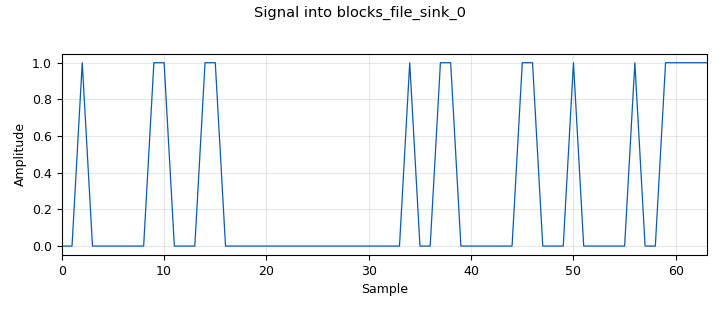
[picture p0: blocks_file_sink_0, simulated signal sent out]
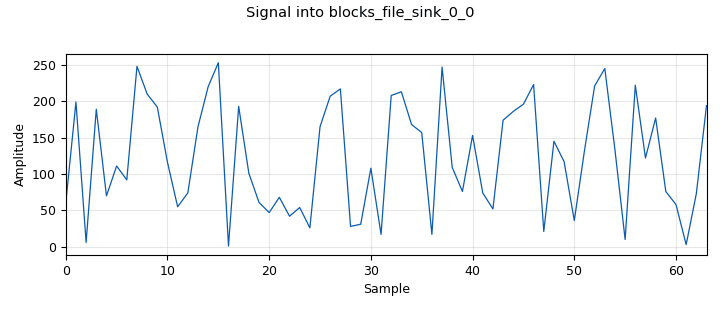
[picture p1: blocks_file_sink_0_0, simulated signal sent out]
<?xml version='1.0' encoding='utf-8'?>
<?grc format='1' created='3.7.9'?>
<flow_graph>
<block>
<key>options</key>
<param><key>id</key><value>top_block</value></param>
<param><key>category</key><value>Custom</value></param>
<param><key>generate_options</key><value>qt_gui</value></param>
</block>
<block>
<key>variable</key>
<param><key>id</key><value>fft_len</value></param>
<param><key>value</key><value>64</value></param>
</block>
<block>
<key>variable</key>
<param><key>id</key><value>header_formatter</value></param>
<param><key>value</key><value>digital.packet_header_ofdm(occupied_carriers, 1, length_tag_key)</value></param>
</block>
<block>
<key>variable</key>
<param><key>id</key><value>header_mod</value></param>
<param><key>value</key><value>digital.constellation_bpsk()</value></param>
</block>
<block>
<key>variable</key>
<param><key>id</key><value>length_tag_key</value></param>
<param><key>value</key><value>"packet_len"</value></param>
</block>
<block>
<key>variable</key>
<param><key>id</key><value>occupied_carriers</value></param>
<param><key>value</key><value>(range(-26, -21) + range(-20, -7) + range(-6, 0) + range(1, 7) + range(8, 21) + range(22, 27),)</value></param>
</block>
<block>
<key>variable</key>
<param><key>id</key><value>packet_len</value></param>
<param><key>value</key><value>96</value></param>
</block>
<block>
<key>variable</key>
<param><key>id</key><value>payload_mod</value></param>
<param><key>value</key><value>digital.constellation_qpsk()</value></param>
</block>
<block>
<key>variable</key>
<param><key>id</key><value>pilot_carriers</value></param>
<param><key>value</key><value>((-21, -7, 7, 21,),)</value></param>
</block>
<block>
<key>variable</key>
<param><key>id</key><value>pilot_symbols</value></param>
<param><key>value</key><value>((1, 1, 1, -1,),)</value></param>
</block>
<block>
<key>variable</key>
<param><key>id</key><value>rolloff</value></param>
<param><key>value</key><value>0</value></param>
</block>
<block>
<key>variable</key>
<param><key>id</key><value>samp_rate</value></param>
<param><key>value</key><value>10000</value></param>
</block>
<block>
<key>variable</key>
<param><key>id</key><value>sync_word1</value></param>
<param><key>value</key><value>[0., 0., 0., 0., 0., 0., 0., 1.41421356, 0., -1.41421356, 0., 1.41421356, 0., -1.41421356, 0., -1.41421356, 0., -1.41421356, 0., 1.41421356, 0., -1.41421356, 0., 1.41421356, 0., -1.41421356, 0., -1.41421356, 0., -1.41421356, 0., -1.41421356, 0., 1.41421356, 0., -1.41421356, 0., 1.41421356, 0., 1.41421356, 0., 1.41421356, 0., -1.41421356, 0., 1.41421356, 0., 1.41421356, 0., 1.41421356, 0., -1.41421356, 0., 1.41421356, 0., 1.41421356, 0., 1.41421356, 0., 0., 0., 0., 0., 0.]</value></param>
</block>
<block>
<key>variable</key>
<param><key>id</key><value>sync_word2</value></param>
<param><key>value</key><value>[0, 0, 0, 0, 0, 0, -1, -1, -1, -1, 1, 1, -1, -1, -1, 1, -1, 1, 1, 1, 1, 1, -1, -1, -1, -1, -1, 1, -1, -1, 1, -1, 0, 1, -1, 1, 1, 1, -1, 1, 1, 1, -1, 1, 1, 1, 1, -1, 1, -1, -1, -1, 1, -1, 1, -1, -1, -1, -1, 0, 0, 0, 0, 0] </value></param>
</block>
<block>
<key>analog_random_source_x</key>
<param><key>id</key><value>analog_random_source_x_0</value></param>
<param><key>max</key><value>255</value></param>
<param><key>min</key><value>0</value></param>
<param><key>num_samps</key><value>1000</value></param>
<param><key>type</key><value>byte</value></param>
<param><key>repeat</key><value>True</value></param>
</block>
<block>
<key>blocks_file_sink</key>
<param><key>id</key><value>blocks_file_sink_0</value></param>
<param><key>file</key><value>/home/lubo/Documents/gnuradio_projects/Diplomka2/testProtocolFormatterOut.txt</value></param>
<param><key>type</key><value>byte</value></param>
</block>
<block>
<key>blocks_file_sink</key>
<param><key>id</key><value>blocks_file_sink_0_0</value></param>
<param><key>file</key><value>/home/lubo/Documents/gnuradio_projects/Diplomka2/testProtocolFormatterIn.txt</value></param>
<param><key>type</key><value>byte</value></param>
</block>
<block>
<key>blocks_file_sink</key>
<param><key>id</key><value>blocks_file_sink_0_0_0</value></param>
<param><key>file</key><value>/home/lubo/Documents/gnuradio_projects/Diplomka2/testProtocolFormatterRandSeq.txt</value></param>
<param><key>type</key><value>byte</value></param>
</block>
<block>
<key>blocks_stream_to_tagged_stream</key>
<param><key>id</key><value>blocks_stream_to_tagged_stream_0</value></param>
<param><key>len_tag_key</key><value>length_tag_key</value></param>
<param><key>packet_len</key><value>packet_len</value></param>
<param><key>type</key><value>byte</value></param>
</block>
<block>
<key>blocks_throttle</key>
<param><key>id</key><value>blocks_throttle_0</value></param>
<param><key>samples_per_second</key><value>samp_rate</value></param>
<param><key>type</key><value>byte</value></param>
</block>
<block>
<key>digital_crc32_bb</key>
<param><key>id</key><value>digital_crc32_bb_0</value></param>
<param><key>lengthtagname</key><value>length_tag_key</value></param>
<param><key>check</key><value>False</value></param>
<param><key>packed</key><value>True</value></param>
</block>
<block>
<key>digital_packet_headergenerator_bb</key>
<param><key>id</key><value>digital_packet_headergenerator_bb_0</value></param>
<param><key>header_formatter</key><value>header_formatter.formatter()</value></param>
<param><key>len_tag_key</key><value>"packet_len"</value></param>
</block>
<block>
<key>import</key>
<param><key>id</key><value>import_0</value></param>
<param><key>import</key><value>import numpy</value></param>
</block>
<block>
<key>import</key>
<param><key>id</key><value>import_0_0</value></param>
<param><key>import</key><value>import random</value></param>
</block>
<block>
<key>import</key>
<param><key>id</key><value>import_1</value></param>
<param><key>import</key><value>from gnuradio.digital.utils import tagged_streams</value></param>
</block>
<connection><source_block_id>analog_random_source_x_0</source_block_id><sink_block_id>blocks_throttle_0</sink_block_id><source_key>0</source_key><sink_key>0</sink_key></connection>
<connection><source_block_id>blocks_stream_to_tagged_stream_0</source_block_id><sink_block_id>digital_crc32_bb_0</sink_block_id><source_key>0</source_key><sink_key>0</sink_key></connection>
<connection><source_block_id>blocks_throttle_0</source_block_id><sink_block_id>blocks_file_sink_0_0_0</sink_block_id><source_key>0</source_key><sink_key>0</sink_key></connection>
<connection><source_block_id>blocks_throttle_0</source_block_id><sink_block_id>blocks_stream_to_tagged_stream_0</sink_block_id><source_key>0</source_key><sink_key>0</sink_key></connection>
<connection><source_block_id>digital_crc32_bb_0</source_block_id><sink_block_id>blocks_file_sink_0_0</sink_block_id><source_key>0</source_key><sink_key>0</sink_key></connection>
<connection><source_block_id>digital_crc32_bb_0</source_block_id><sink_block_id>digital_packet_headergenerator_bb_0</sink_block_id><source_key>0</source_key><sink_key>0</sink_key></connection>
<connection><source_block_id>digital_packet_headergenerator_bb_0</source_block_id><sink_block_id>blocks_file_sink_0</sink_block_id><source_key>0</source_key><sink_key>0</sink_key></connection>
</flow_graph>
